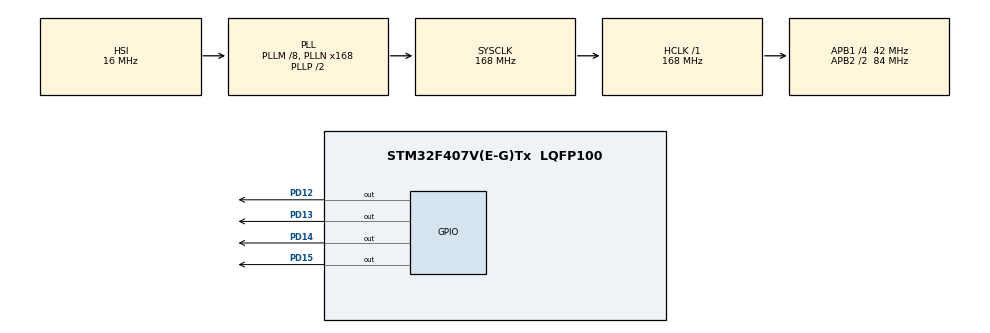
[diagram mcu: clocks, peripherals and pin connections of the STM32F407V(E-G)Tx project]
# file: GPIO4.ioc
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FREERTOS.INCLUDE_vTaskDelayUntil=1
FREERTOS.Tasks01=defaultTask,-3,128,StartDefaultTask,Default,NULL,Dynamic,NULL,NULL
FREERTOS.configUSE_NEWLIB_REENTRANT=1
Mcu.Family=STM32F4
Mcu.Name=STM32F407V(E-G)Tx
Mcu.Package=LQFP100
NVIC.PriorityGroup=NVIC_PRIORITYGROUP_4
NVIC.TIM1_UP_TIM10_IRQn=true\:15\:0\:false\:false\:true\:false\:false\:true\:true
NVIC.TimeBase=TIM1_UP_TIM10_IRQn
NVIC.TimeBaseIP=TIM1
PD12.Signal=GPIO_Output
PD13.Signal=GPIO_Output
PD14.Signal=GPIO_Output
PD15.Signal=GPIO_Output
ProjectManager.HeapSize=0x200
ProjectManager.StackSize=0x400
ProjectManager.TargetToolchain=STM32CubeIDE
RCC.48MHZClocksFreq_Value=48000000
RCC.AHBFreq_Value=168000000
RCC.APB1CLKDivider=RCC_HCLK_DIV4
RCC.APB1Freq_Value=42000000
RCC.APB1TimFreq_Value=84000000
RCC.APB2CLKDivider=RCC_HCLK_DIV2
RCC.APB2Freq_Value=84000000
RCC.APB2TimFreq_Value=168000000
RCC.CortexFreq_Value=168000000
RCC.HCLKFreq_Value=168000000
RCC.HSE_VALUE=8000000
RCC.HSI_VALUE=16000000
RCC.LSE_VALUE=32768
RCC.PLLM=8
RCC.PLLN=168
RCC.PLLQ=7
RCC.SYSCLKFreq_VALUE=168000000
RCC.SYSCLKSource=RCC_SYSCLKSOURCE_PLLCLK
RCC.VCOOutputFreq_Value=336000000
VP_FREERTOS_VS_CMSIS_V1.Mode=CMSIS_V1
VP_SYS_VS_tim1.Mode=TIM1
board=STM32F407G-DISC1

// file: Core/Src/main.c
/* USER CODE BEGIN Header */
/**
  ******************************************************************************
  * @file           : main.c
  * @brief          : Main program body
  ******************************************************************************
  * @attention
  *
  * Copyright (c) 2024 STMicroelectronics.
  * All rights reserved.
  *
  * This software is licensed under terms that can be found in the LICENSE file
  * in the root directory of this software component.
  * If no LICENSE file comes with this software, it is provided AS-IS.
  *
  ******************************************************************************
  */
/* USER CODE END Header */
#include "main.h"
#include "cmsis_os.h"

osThreadId defaultTaskHandle;

void SystemClock_Config(void);
static void MX_GPIO_Init(void);
void StartDefaultTask(void const * argument);

/* USER CODE BEGIN 0 */
void vContinuousTask(void *pvParam)
{
	uint16_t pin = (uint16_t)pvParam;
	while(1)
	{
		HAL_GPIO_TogglePin(GPIOD, pin);
		vTaskDelay(2000 / portTICK_RATE_MS);
	}
	vTaskDelete(NULL);
}

void vPeriodicTask(void *pvParam)
{
	uint16_t pin = (uint16_t)pvParam;
	portTickType xLastWakeupTime =  xTaskGetTickCount();
	while(1)
	{
		HAL_GPIO_TogglePin(GPIOD, pin);
		vTaskDelayUntil(&xLastWakeupTime ,2000 / portTICK_RATE_MS);
	}
	vTaskDelete(NULL);
}

/* USER CODE END 0 */

int main(void)
{
  /* USER CODE BEGIN 1 */
	BaseType_t xRet;
  /* USER CODE END 1 */

  /* MCU Configuration--------------------------------------------------------*/

  /* Reset of all peripherals, Initializes the Flash interface and the Systick. */
  HAL_Init();

  /* Configure the system clock */
  SystemClock_Config();

  /* Initialize all configured peripherals */
  MX_GPIO_Init();

  /* Create the thread(s) */
  /* definition and creation of defaultTask */
  osThreadDef(defaultTask, StartDefaultTask, osPriorityIdle, 0, 128);
  defaultTaskHandle = osThreadCreate(osThread(defaultTask), NULL);

  /* USER CODE BEGIN RTOS_THREADS */
  /* add threads, ... */
  xRet = xTaskCreate(vContinuousTask, "Task1", configMINIMAL_STACK_SIZE , (void *)GPIO_PIN_12, 4, NULL);
  if(xRet != pdTRUE)
	  Error_Handler();

  xRet = xTaskCreate(vPeriodicTask, "Task2", configMINIMAL_STACK_SIZE , (void *)GPIO_PIN_13, 4, NULL);
    if(xRet != pdTRUE)
  	  Error_Handler();
  /* USER CODE END RTOS_THREADS */

  /* Start scheduler */
  osKernelStart();

  /* We should never get here as control is now taken by the scheduler */
  /* Infinite loop */
  while (1)
  {

  }
}

void SystemClock_Config(void)
{
  RCC_OscInitTypeDef RCC_OscInitStruct = {0};
  RCC_ClkInitTypeDef RCC_ClkInitStruct = {0};

  /** Configure the main internal regulator output voltage
  */
  __HAL_RCC_PWR_CLK_ENABLE();
  __HAL_PWR_VOLTAGESCALING_CONFIG(PWR_REGULATOR_VOLTAGE_SCALE1);

  /** Initializes the RCC Oscillators according to the specified parameters
  * in the RCC_OscInitTypeDef structure.
  */
  RCC_OscInitStruct.OscillatorType = RCC_OSCILLATORTYPE_HSI;
  RCC_OscInitStruct.HSIState = RCC_HSI_ON;
  RCC_OscInitStruct.HSICalibrationValue = RCC_HSICALIBRATION_DEFAULT;
  RCC_OscInitStruct.PLL.PLLState = RCC_PLL_ON;
  RCC_OscInitStruct.PLL.PLLSource = RCC_PLLSOURCE_HSI;
  RCC_OscInitStruct.PLL.PLLM = 8;
  RCC_OscInitStruct.PLL.PLLN = 168;
  RCC_OscInitStruct.PLL.PLLP = RCC_PLLP_DIV2;
  RCC_OscInitStruct.PLL.PLLQ = 7;
  if (HAL_RCC_OscConfig(&RCC_OscInitStruct) != HAL_OK)
  {
    Error_Handler();
  }

  /** Initializes the CPU, AHB and APB buses clocks
  */
  RCC_ClkInitStruct.ClockType = RCC_CLOCKTYPE_HCLK|RCC_CLOCKTYPE_SYSCLK
                              |RCC_CLOCKTYPE_PCLK1|RCC_CLOCKTYPE_PCLK2;
  RCC_ClkInitStruct.SYSCLKSource = RCC_SYSCLKSOURCE_PLLCLK;
  RCC_ClkInitStruct.AHBCLKDivider = RCC_SYSCLK_DIV1;
  RCC_ClkInitStruct.APB1CLKDivider = RCC_HCLK_DIV4;
  RCC_ClkInitStruct.APB2CLKDivider = RCC_HCLK_DIV2;

  if (HAL_RCC_ClockConfig(&RCC_ClkInitStruct, FLASH_LATENCY_5) != HAL_OK)
  {
    Error_Handler();
  }
}

static void MX_GPIO_Init(void)
{
  GPIO_InitTypeDef GPIO_InitStruct = {0};

  /* GPIO Ports Clock Enable */
  __HAL_RCC_GPIOD_CLK_ENABLE();

  /*Configure GPIO pin Output Level */
  HAL_GPIO_WritePin(GPIOD, GPIO_PIN_12|GPIO_PIN_13|GPIO_PIN_14|GPIO_PIN_15, GPIO_PIN_RESET);

  /*Configure GPIO pins : PD12 PD13 PD14 PD15 */
  GPIO_InitStruct.Pin = GPIO_PIN_12|GPIO_PIN_13|GPIO_PIN_14|GPIO_PIN_15;
  GPIO_InitStruct.Mode = GPIO_MODE_OUTPUT_PP;
  GPIO_InitStruct.Pull = GPIO_NOPULL;
  GPIO_InitStruct.Speed = GPIO_SPEED_FREQ_LOW;
  HAL_GPIO_Init(GPIOD, &GPIO_InitStruct);

}

void StartDefaultTask(void const * argument)
{
  for(;;)
  {
    osDelay(1);
  }
}

void HAL_TIM_PeriodElapsedCallback(TIM_HandleTypeDef *htim)
{
  if (htim->Instance == TIM1) {
    HAL_IncTick();
  }
}

void Error_Handler(void)
{
  __disable_irq();
  while (1)
  {
  }
}
